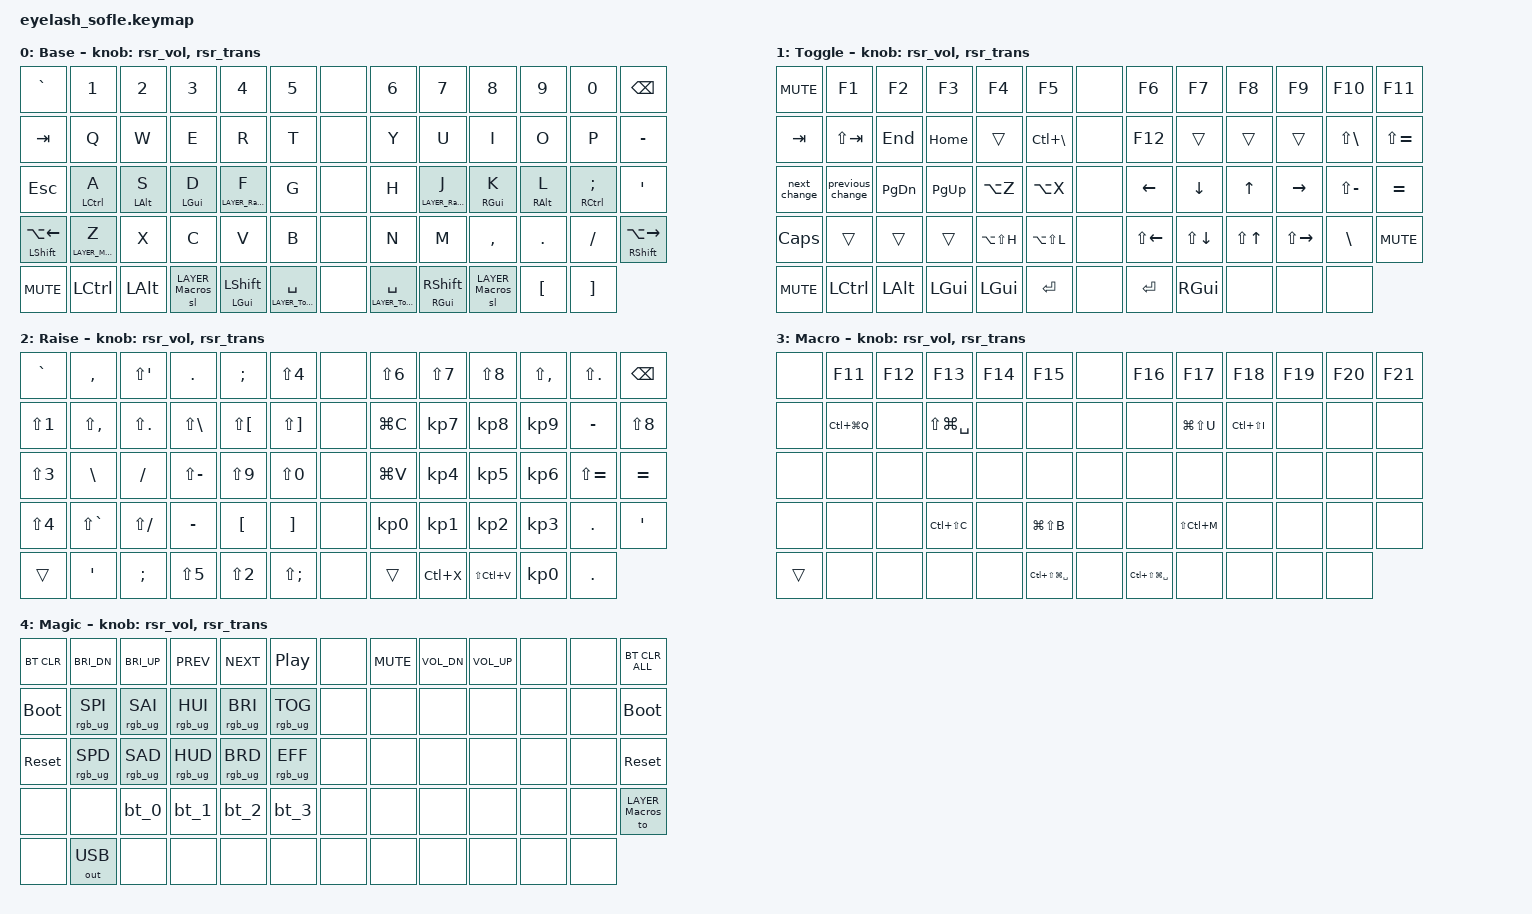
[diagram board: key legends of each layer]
#include <input/processors.dtsi>
#include <zephyr/dt-bindings/input/input-event-codes.h>
#include <behaviors.dtsi>
#include <dt-bindings/zmk/bt.h>
#include <dt-bindings/zmk/keys.h>
#include <dt-bindings/zmk/outputs.h>
#include <dt-bindings/zmk/pointing.h>
#include <dt-bindings/zmk/rgb.h>
#include <behaviors/runtime-sensor-rotate.dtsi>

/* Layer defines */
#define LAYER_Base 0
#define LAYER_Toggles 1
#define LAYER_Raise 2
#define LAYER_Macros 3
#define LAYER_Magic 4

/*
 * Sofle Eyelash key index reference (64 keys total):
 *
 * Row 0 (13):  0   1   2   3   4   5  |  6  |  7   8   9  10  11  12
 * Row 1 (13): 13  14  15  16  17  18  | 19  | 20  21  22  23  24  25
 * Row 2 (13): 26  27  28  29  30  31  | 32  | 33  34  35  36  37  38
 * Row 3 (13): 39  40  41  42  43  44  | 45  | 46  47  48  49  50  51
 * Row 4 (12): 52  53  54  55  56  57  | 58  | 59  60  61  62  63
 *                                 ENC  MOD  MOD  MOD  THM  THM  (inner)  THM  THM  MOD  MOD  MOD
 *
 * Indices 6, 19, 32, 45, 58 = inner column (unused, set to &none)
 */

/* ───────────────────────── Sofle Hardware Config ───────────────────────── */

/ {
    zip_scroll_scaler: zip_scroll_scaler {
        compatible = "zmk,input-processor-scaler";
        #input-processor-cells = <2>;
        type = <INPUT_EV_REL>;
        codes = <INPUT_REL_WHEEL INPUT_REL_HWHEEL>;
        track-remainders;
    };
};

&mmv_input_listener { input-processors = <&zip_xy_scaler 2 1>; };
&msc_input_listener { input-processors = <&zip_scroll_scaler 2 1>; };

&msc {
    acceleration-exponent = <0>;
    time-to-max-speed-ms = <0>;
    delay-ms = <0>;
};

&mmv {
    time-to-max-speed-ms = <400>;
    acceleration-exponent = <1>;
};

&soft_off { hold-time-ms = <2000>; };

/* ───────────────────────── Behaviors ───────────────────────── */

/ {
    behaviors {
        /* Encoder rotation behaviors (Sofle-specific) */
        rsr_vol: rsr_vol {
            compatible = "zmk,behavior-runtime-sensor-rotate";
            #sensor-binding-cells = <0>;
            tap-ms = <5>;
            cw-binding = <&kp C_VOL_UP>;
            ccw-binding = <&kp C_VOL_DN>;
        };

        rsr_trans: rsr_trans {
            compatible = "zmk,behavior-runtime-sensor-rotate";
            #sensor-binding-cells = <0>;
            tap-ms = <0>;
        };

        /* Optimized layer-tap — used for Magic/Z key (tap=Z, hold=Magic layer) */
        lt_optimized: layer_tap_optimized {
            compatible = "zmk,behavior-hold-tap";
            #binding-cells = <2>;
            flavor = "balanced";
            tapping-term-ms = <175>;
            quick-tap-ms = <150>;
            require-prior-idle-ms = <125>;
            bindings = <&mo>, <&kp>;
        };

        /* Sticky shift with quick release */
        skq: sticky_shift_quick {
            compatible = "zmk,behavior-sticky-key";
            #binding-cells = <1>;
            bindings = <&kp>;
            release-after-ms = <1000>;
            quick-release;
        };

        /* Hold = Cmd, Tap = Sticky Shift */
        cmd_sticky_shift: cmd_sticky_shift {
            compatible = "zmk,behavior-hold-tap";
            #binding-cells = <2>;
            flavor = "tap-preferred";
            tapping-term-ms = <200>;
            quick-tap-ms = <175>;
            bindings = <&kp>, <&skq>;
        };

        /* Left-hand home row mod — triggers only on right-hand key positions */
        HRM_Hold_Tap_lha: HRM_Hold_Tap_lha {
            compatible = "zmk,behavior-hold-tap";
            #binding-cells = <2>;
            tapping-term-ms = <280>;
            bindings = <&kp>, <&kp>;
            flavor = "balanced";
            quick-tap-ms = <175>;
            require-prior-idle-ms = <150>;
            hold-trigger-key-positions = <
                7  8  9  10 11 12
                20 21 22 23 24 25
                33 34 35 36 37 38
                46 47 48 49 50 51
                59 60 61 62 63
            >;
            hold-trigger-on-release;
        };

        /* Right-hand home row mod — triggers only on left-hand key positions */
        HRM_Hold_Tap_rh: HRM_Hold_Tap_rh {
            compatible = "zmk,behavior-hold-tap";
            #binding-cells = <2>;
            tapping-term-ms = <280>;
            bindings = <&kp>, <&kp>;
            flavor = "balanced";
            quick-tap-ms = <175>;
            require-prior-idle-ms = <150>;
            hold-trigger-key-positions = <
                0  1  2  3  4  5
                13 14 15 16 17 18
                26 27 28 29 30 31
                39 40 41 42 43 44
                52 53 54 55 56 57
            >;
            hold-trigger-on-release;
        };
    };
};

/* ───────────────────────── Macros ───────────────────────── */

/ {
    macros {
        /* Vim-style next/previous change (]c / [c) */
        next_change: next_change {
            label = "&NEXT_CHANGE";
            compatible = "zmk,behavior-macro";
            #binding-cells = <0>;
            bindings = <&macro_tap>, <&kp RBKT>, <&kp C>;
        };

        previous_change: previous_change {
            label = "&PREVIOUS_CHANGE";
            compatible = "zmk,behavior-macro";
            #binding-cells = <0>;
            bindings = <&macro_tap>, <&kp LBKT>, <&kp C>;
        };

        /* BT profile macros — switch to BLE output + select profile */
        bt_0: bt_0 {
            label = "BT_0";
            compatible = "zmk,behavior-macro";
            #binding-cells = <0>;
            bindings = <&out OUT_BLE>, <&bt BT_SEL 0>;
        };

        bt_1: bt_1 {
            label = "BT_1";
            compatible = "zmk,behavior-macro";
            #binding-cells = <0>;
            bindings = <&out OUT_BLE>, <&bt BT_SEL 1>;
        };

        bt_2: bt_2 {
            label = "BT_2";
            compatible = "zmk,behavior-macro";
            #binding-cells = <0>;
            bindings = <&out OUT_BLE>, <&bt BT_SEL 2>;
        };

        bt_3: bt_3 {
            label = "BT_3";
            compatible = "zmk,behavior-macro";
            #binding-cells = <0>;
            bindings = <&out OUT_BLE>, <&bt BT_SEL 3>;
        };
    };
};

/* ───────────────────────── Combos ───────────────────────── */

/ {
    combos {
        compatible = "zmk,combos";

        /* Soft-off: Q + S + Z (kept from original Sofle config) */
        softoff {
            bindings = <&soft_off>;
            key-positions = <14 28 40>;
        };

        /* Right Enter: J + K */
        combo_RightEnt {
            key-positions = <34 35>;
            bindings = <&kp RET>;
        };

        /* Left Enter: C + V */
        combo_LeftEnt {
            key-positions = <42 43>;
            bindings = <&kp RET>;
        };

        /* Option + Backspace: D + F */
        combo_OptBackspace {
            key-positions = <29 30>;
            bindings = <&kp LA(BSPC)>;
        };
    };
};

/* ───────────────────────── Keymap ───────────────────────── */

/ {
    keymap {
        compatible = "zmk,keymap";

        /*
         * BASE LAYER
         * ┌──────┬──────┬──────┬──────┬──────┬──────┐ ┌──────┐ ┌──────┬──────┬──────┬──────┬──────┬──────┐
         * │  `   │  1   │  2   │  3   │  4   │  5   │ │      │ │  6   │  7   │  8   │  9   │  0   │ BSPC │
         * ├──────┼──────┼──────┼──────┼──────┼──────┤ │      │ ├──────┼──────┼──────┼──────┼──────┼──────┤
         * │ TAB  │  Q   │  W   │  E   │  R   │  T   │ │      │ │  Y   │  U   │  I   │  O   │  P   │  -   │
         * ├──────┼──────┼──────┼──────┼──────┼──────┤ │      │ ├──────┼──────┼──────┼──────┼──────┼──────┤
         * │ ESC  │Ctrl/A│Alt/S │Gui/D │Rai/F │  G   │ │      │ │  H   │Rai/J │Gui/K │Alt/L │Ctrl/;│  '   │
         * ├──────┼──────┼──────┼──────┼──────┼──────┤ │      │ ├──────┼──────┼──────┼──────┼──────┼──────┤
         * │LSft/ │Mag/Z │  X   │  C   │  V   │  B   │ │      │ │  N   │  M   │  ,   │  .   │  /   │RSft/ │
         * │Opt+← │      │      │      │      │      │ │      │ │      │      │      │      │      │Opt+→ │
         * ├──────┼──────┼──────┼──────┼──────┼──────┤ │      │ ├──────┼──────┼──────┼──────┼──────┤      │
         * │ MUTE │ CTRL │ ALT  │slMac │Cmd/  │Tog/  │ │      │ │Tog/  │Cmd/  │slMac │  [   │  ]   │      │
         * │      │      │      │      │SftSh │Space │ │      │ │Space │SftSh │      │      │      │      │
         * └──────┴──────┴──────┴──────┴──────┴──────┘ └──────┘ └──────┴──────┴──────┴──────┴──────┘      │
         */
        layer_Base {
            bindings = <
&kp GRAVE           &kp N1                        &kp N2                       &kp N3                       &kp N4                          &kp N5                          &none   &kp N6                          &kp N7                           &kp N8                       &kp N9                           &kp N0                 &kp BSPC
&kp TAB             &kp Q                         &kp W                        &kp E                        &kp R                           &kp T                           &none   &kp Y                           &kp U                            &kp I                        &kp O                            &kp P                  &kp MINUS
&kp ESC             &HRM_Hold_Tap_lha LCTRL A     &HRM_Hold_Tap_lha LALT S     &HRM_Hold_Tap_lha LGUI D     &lt LAYER_Raise F               &kp G                           &none   &kp H                           &lt LAYER_Raise J                &HRM_Hold_Tap_rh RGUI K      &HRM_Hold_Tap_rh RALT L          &HRM_Hold_Tap_rh RCTRL SEMI  &kp SQT
&mt LSHFT LA(LEFT)  &lt_optimized LAYER_Magic Z   &kp X                        &kp C                        &kp V                           &kp B                           &none   &kp N                           &kp M                            &kp COMMA                    &kp DOT                          &kp FSLH               &mt RSHFT LA(RIGHT)
&kp C_MUTE          &kp LCTRL                     &kp LALT                     &sl LAYER_Macros              &cmd_sticky_shift LGUI LSHIFT   &lt LAYER_Toggles SPACE         &none   &lt LAYER_Toggles SPACE         &cmd_sticky_shift RGUI RSHIFT    &sl LAYER_Macros             &kp LBKT                         &kp RBKT
            >;
            sensor-bindings = <&rsr_vol &rsr_trans>;
            display-name = "Base";
        };

        /*
         * TOGGLES LAYER (Navigation + Function keys)
         * ┌──────┬──────┬──────┬──────┬──────┬──────┐ ┌──────┐ ┌──────┬──────┬──────┬──────┬──────┬──────┐
         * │ MUTE │  F1  │  F2  │  F3  │  F4  │  F5  │ │      │ │  F6  │  F7  │  F8  │  F9  │ F10  │ F11  │
         * ├──────┼──────┼──────┼──────┼──────┼──────┤ │      │ ├──────┼──────┼──────┼──────┼──────┼──────┤
         * │ TAB  │S+TAB │ END  │ HOME │      │Ctrl+\│ │      │ │ F12  │      │      │      │  |   │  +   │
         * ├──────┼──────┼──────┼──────┼──────┼──────┤ │      │ ├──────┼──────┼──────┼──────┼──────┼──────┤
         * │  ]c  │  [c  │PgDn  │PgUp  │Opt+Z │Opt+X │ │      │ │  ←   │  ↓   │  ↑   │  →   │  _   │  =   │
         * ├──────┼──────┼──────┼──────┼──────┼──────┤ │      │ ├──────┼──────┼──────┼──────┼──────┼──────┤
         * │ CAPS │      │      │      │⌥⇧H  │⌥⇧L  │ │      │ │ S+←  │ S+↓  │ S+↑  │ S+→  │  \   │ MUTE │
         * ├──────┼──────┼──────┼──────┼──────┼──────┤ │      │ ├──────┼──────┼──────┼──────┼──────┤      │
         * │ MUTE │ CTRL │ ALT  │ GUI  │ GUI  │ENTER │ │      │ │ENTER │ RGUI │      │      │      │      │
         * └──────┴──────┴──────┴──────┴──────┴──────┘ └──────┘ └──────┴──────┴──────┴──────┴──────┘      │
         */
        layer_Toggles {
            bindings = <
&kp C_MUTE      &kp F1              &kp F2      &kp F3      &kp F4          &kp F5              &none   &kp F6          &kp F7          &kp F8      &kp F9          &kp F10         &kp F11
&kp TAB         &kp LS(TAB)         &kp END     &kp HOME    &trans          &kp LC(BSLH)        &none   &kp F12         &trans          &trans      &trans          &kp LS(BSLH)    &kp LS(EQUAL)
&next_change    &previous_change    &kp PG_DN   &kp PG_UP   &kp LA(Z)       &kp LA(X)           &none   &kp LEFT        &kp DOWN        &kp UP      &kp RIGHT       &kp LS(MINUS)   &kp EQUAL
&kp CAPS        &trans              &trans      &trans      &kp LA(LS(H))   &kp LA(LS(L))       &none   &kp LS(LEFT)    &kp LS(DOWN)    &kp LS(UP)  &kp LS(RIGHT)   &kp BSLH        &kp C_MUTE
&kp C_MUTE      &kp LCTRL           &kp LALT    &kp LGUI    &kp LGUI        &kp RET             &none   &kp RET         &kp RGUI        &none       &none           &none
            >;
            sensor-bindings = <&rsr_vol &rsr_trans>;
            display-name = "Toggle";
        };

        /*
         * RAISE LAYER (Symbols + Numpad)
         * ┌──────┬──────┬──────┬──────┬──────┬──────┐ ┌──────┐ ┌──────┬──────┬──────┬──────┬──────┬──────┐
         * │  `   │  ,   │  "   │  .   │  ;   │  $   │ │      │ │  ^   │  &   │  *   │  <   │  >   │ BSPC │
         * ├──────┼──────┼──────┼──────┼──────┼──────┤ │      │ ├──────┼──────┼──────┼──────┼──────┼──────┤
         * │  !   │  <   │  >   │  |   │  {   │  }   │ │      │ │ ⌘C   │  7   │  8   │  9   │  -   │  *   │
         * ├──────┼──────┼──────┼──────┼──────┼──────┤ │      │ ├──────┼──────┼──────┼──────┼──────┼──────┤
         * │  #   │  \   │  /   │  _   │  (   │  )   │ │      │ │ ⌘V   │  4   │  5   │  6   │  +   │  =   │
         * ├──────┼──────┼──────┼──────┼──────┼──────┤ │      │ ├──────┼──────┼──────┼──────┼──────┼──────┤
         * │  $   │  ~   │  ?   │  -   │  [   │  ]   │ │      │ │  0   │  1   │  2   │  3   │  .   │  '   │
         * ├──────┼──────┼──────┼──────┼──────┼──────┤ │      │ ├──────┼──────┼──────┼──────┼──────┤      │
         * │      │  '   │  ;   │  %   │  @   │  :   │ │      │ │      │Ctrl+X│⇧⌃V   │ KP0  │  .   │      │
         * └──────┴──────┴──────┴──────┴──────┴──────┘ └──────┘ └──────┴──────┴──────┴──────┴──────┘      │
         */
        layer_Raise {
            bindings = <
&kp GRAVE       &kp COMMA       &kp LS(SQT)     &kp DOT         &kp SEMI        &kp LS(N4)      &none   &kp LS(N6)      &kp LS(N7)      &kp LS(N8)      &kp LS(COMMA)   &kp LS(DOT)     &kp BSPC
&kp LS(N1)      &kp LS(COMMA)   &kp LS(DOT)     &kp LS(BSLH)    &kp LS(LBKT)    &kp LS(RBKT)    &none   &kp LG(C)       &kp KP_N7       &kp KP_N8       &kp KP_N9       &kp MINUS       &kp LS(N8)
&kp LS(N3)      &kp BSLH        &kp FSLH        &kp LS(MINUS)   &kp LS(N9)      &kp LS(N0)      &none   &kp LG(V)       &kp KP_N4       &kp KP_N5       &kp KP_N6       &kp LS(EQUAL)   &kp EQUAL
&kp LS(N4)      &kp LS(GRAVE)   &kp LS(FSLH)    &kp MINUS       &kp LBKT        &kp RBKT        &none   &kp KP_N0       &kp KP_N1       &kp KP_N2       &kp KP_N3       &kp DOT         &kp SQT
&trans          &kp SQT         &kp SEMI        &kp LS(N5)      &kp LS(N2)      &kp LS(SEMI)    &none   &trans          &kp LC(X)       &kp LS(LC(V))   &kp KP_N0       &kp DOT
            >;
            sensor-bindings = <&rsr_vol &rsr_trans>;
            display-name = "Raise";
        };

        /*
         * MACROS LAYER (App shortcuts)
         * ┌──────┬──────┬──────┬──────┬──────┬──────┐ ┌──────┐ ┌──────┬──────┬──────┬──────┬──────┬──────┐
         * │      │ F11  │ F12  │ F13  │ F14  │ F15  │ │      │ │ F16  │ F17  │ F18  │ F19  │ F20  │ F21  │
         * ├──────┼──────┼──────┼──────┼──────┼──────┤ │      │ ├──────┼──────┼──────┼──────┼──────┼──────┤
         * │      │⌃⌘Q  │      │⇧⌘SPC│      │      │ │      │ │      │⇧⌘U  │⌃⇧I  │      │      │      │
         * ├──────┼──────┼──────┼──────┼──────┼──────┤ │      │ ├──────┼──────┼──────┼──────┼──────┼──────┤
         * │      │      │      │      │      │      │ │      │ │      │      │      │      │      │      │
         * ├──────┼──────┼──────┼──────┼──────┼──────┤ │      │ ├──────┼──────┼──────┼──────┼──────┼──────┤
         * │      │      │      │⌃⇧C  │      │⇧⌘B  │ │      │ │      │⌃⇧M  │      │      │      │      │
         * ├──────┼──────┼──────┼──────┼──────┼──────┤ │      │ ├──────┼──────┼──────┼──────┼──────┤      │
         * │      │      │      │      │      │⌃⇧⌘SP│ │      │ │⌃⇧⌘SP│      │      │      │      │      │
         * └──────┴──────┴──────┴──────┴──────┴──────┘ └──────┘ └──────┴──────┴──────┴──────┴──────┘      │
         */
        layer_Macros {
            bindings = <
&none       &kp F11         &kp F12     &kp F13             &kp F14     &kp F15             &none   &kp F16                     &kp F17         &kp F18         &kp F19     &kp F20     &kp F21
&none       &kp LC(LG(Q))   &none       &kp LS(LG(SPACE))   &none       &none               &none   &none                       &kp LG(LS(U))   &kp LC(LS(I))   &none       &none       &none
&none       &none           &none       &none               &none       &none               &none   &none                       &none           &none           &none       &none       &none
&none       &none           &none       &kp LC(LS(C))       &none       &kp LG(LS(B))       &none   &none                       &kp LS(LC(M))   &none           &none       &none       &none
&trans      &none           &none       &none               &none       &kp LC(LS(LG(SPACE)))   &none   &kp LC(LS(LG(SPACE)))   &none           &none           &none       &none
            >;
            sensor-bindings = <&rsr_vol &rsr_trans>;
            display-name = "Macro";
        };

        /*
         * MAGIC LAYER (System, BT, RGB)
         * Activated by holding Z on Base layer
         * ┌──────┬──────┬──────┬──────┬──────┬──────┐ ┌──────┐ ┌──────┬──────┬──────┬──────┬──────┬──────┐
         * │BT CLR│Bri-  │Bri+  │ Prev │ Next │ Play │ │      │ │ MUTE │ Vol- │ Vol+ │      │      │BTCLRA│
         * ├──────┼──────┼──────┼──────┼──────┼──────┤ │      │ ├──────┼──────┼──────┼──────┼──────┼──────┤
         * │ BOOT │RGBSPI│RGBSAI│RGBHUI│RGBBRI│RGBTOG│ │      │ │      │      │      │      │      │ BOOT │
         * ├──────┼──────┼──────┼──────┼──────┼──────┤ │      │ ├──────┼──────┼──────┼──────┼──────┼──────┤
         * │RESET │RGBSPD│RGBSAD│RGBHUD│RGBBRD│RGBEFF│ │      │ │      │      │      │      │      │RESET │
         * ├──────┼──────┼──────┼──────┼──────┼──────┤ │      │ ├──────┼──────┼──────┼──────┼──────┼──────┤
         * │      │      │ BT0  │ BT1  │ BT2  │ BT3  │ │      │ │      │      │      │      │      │toMacr│
         * ├──────┼──────┼──────┼──────┼──────┼──────┤ │      │ ├──────┼──────┼──────┼──────┼──────┤      │
         * │      │ USB  │      │      │      │      │ │      │ │      │      │      │      │      │      │
         * └──────┴──────┴──────┴──────┴──────┴──────┘ └──────┘ └──────┴──────┴──────┴──────┴──────┘      │
         */
        layer_Magic {
            bindings = <
&bt BT_CLR      &kp C_BRI_DN        &kp C_BRI_UP        &kp C_PREV          &kp C_NEXT          &kp C_PP            &none   &kp C_MUTE      &kp C_VOL_DN    &kp C_VOL_UP    &none       &none       &bt BT_CLR_ALL
&bootloader     &rgb_ug RGB_SPI     &rgb_ug RGB_SAI      &rgb_ug RGB_HUI     &rgb_ug RGB_BRI     &rgb_ug RGB_TOG     &none   &none           &none           &none           &none       &none       &bootloader
&sys_reset      &rgb_ug RGB_SPD     &rgb_ug RGB_SAD      &rgb_ug RGB_HUD     &rgb_ug RGB_BRD     &rgb_ug RGB_EFF     &none   &none           &none           &none           &none       &none       &sys_reset
&none           &none               &bt_0                &bt_1               &bt_2               &bt_3               &none   &none           &none           &none           &none       &none       &to LAYER_Macros
&none           &out OUT_USB        &none                &none               &none               &none               &none   &none           &none           &none           &none       &none
            >;
            sensor-bindings = <&rsr_vol &rsr_trans>;
            display-name = "Magic";
        };
    };
};
